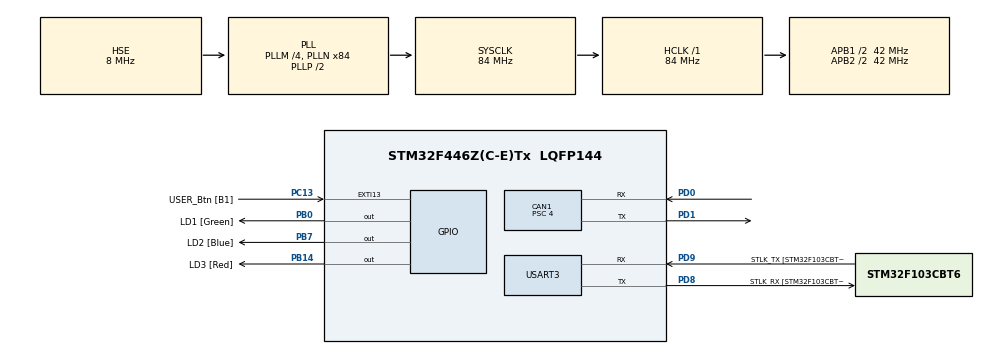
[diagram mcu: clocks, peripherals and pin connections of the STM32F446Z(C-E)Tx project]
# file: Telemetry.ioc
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CAN1.BS1=CAN_BS1_13TQ
CAN1.BS2=CAN_BS2_2TQ
CAN1.CalculateBaudRate=656250
CAN1.CalculateTimeBit=1523
CAN1.CalculateTimeQuantum=95.23809523809524
CAN1.NART=ENABLE
CAN1.Prescaler=4
Mcu.Family=STM32F4
Mcu.Name=STM32F446Z(C-E)Tx
Mcu.Package=LQFP144
NVIC.CAN1_RX0_IRQn=true\:0\:0\:false\:false\:true\:true\:true\:true
NVIC.EXTI15_10_IRQn=true\:0\:0\:false\:false\:true\:true\:true\:true
NVIC.PriorityGroup=NVIC_PRIORITYGROUP_4
PB0.GPIO_Label=LD1 [Green]
PB0.Signal=GPIO_Output
PB14.GPIO_Label=LD3 [Red]
PB14.Signal=GPIO_Output
PB7.GPIO_Label=LD2 [Blue]
PB7.Signal=GPIO_Output
PC13.GPIO_Label=USER_Btn [B1]
PC13.Signal=GPXTI13
PC14-OSC32_IN.Mode=LSE-External-Oscillator
PC14-OSC32_IN.Signal=RCC_OSC32_IN
PC15-OSC32_OUT.Mode=LSE-External-Oscillator
PC15-OSC32_OUT.Signal=RCC_OSC32_OUT
PD0.Mode=CAN_Activate
PD0.Signal=CAN1_RX
PD1.Mode=CAN_Activate
PD1.Signal=CAN1_TX
PD8.GPIO_Label=STLK_RX [STM32F103CBT6_PA3]
PD8.Mode=Asynchronous
PD8.Signal=USART3_TX
PD9.GPIO_Label=STLK_TX [STM32F103CBT6_PA2]
PD9.Mode=Asynchronous
PD9.Signal=USART3_RX
PH0-OSC_IN.GPIO_Label=MCO [STM32F103CBT6_PA8]
PH0-OSC_IN.Mode=HSE-External-Clock-Source
PH0-OSC_IN.Signal=RCC_OSC_IN
PH1-OSC_OUT.Mode=HSE-External-Clock-Source
PH1-OSC_OUT.Signal=RCC_OSC_OUT
ProjectManager.HeapSize=0x200
ProjectManager.StackSize=0x400
ProjectManager.TargetToolchain=STM32CubeIDE
RCC.48MHZClocksFreq_Value=24000000
RCC.AHBFreq_Value=84000000
RCC.APB1CLKDivider=RCC_HCLK_DIV2
RCC.APB1Freq_Value=42000000
RCC.APB1TimFreq_Value=84000000
RCC.APB2CLKDivider=RCC_HCLK_DIV2
RCC.APB2Freq_Value=42000000
RCC.APB2TimFreq_Value=84000000
RCC.CortexFreq_Value=84000000
RCC.HCLKFreq_Value=84000000
RCC.HSE_VALUE=8000000
RCC.HSI_VALUE=16000000
RCC.PLLM=4
RCC.PLLMUL=RCC_PLL_MUL9
RCC.PLLN=84
RCC.PLLQ=7
RCC.PLLSourceVirtual=RCC_PLLSOURCE_HSE
RCC.PRESCALERUSB=RCC_USBCLKSOURCE_PLL_DIV1_5
RCC.SYSCLKFreq_VALUE=84000000
RCC.SYSCLKSource=RCC_SYSCLKSOURCE_PLLCLK
RCC.SYSCLKSourceVirtual=RCC_SYSCLKSOURCE_PLLCLK
RCC.USBFreq_Value=24000000
RCC.VCOOutputFreq_Value=168000000
USART3.VirtualMode=VM_ASYNC
board=NUCLEO-F446ZE

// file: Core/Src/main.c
/* USER CODE BEGIN Header */
/**
  ******************************************************************************
  * @file           : main.c
  * @brief          : Main program body
  ******************************************************************************
  * @attention
  *
  * Copyright (c) 2024 STMicroelectronics.
  * All rights reserved.
  *
  * This software is licensed under terms that can be found in the LICENSE file
  * in the root directory of this software component.
  * If no LICENSE file comes with this software, it is provided AS-IS.
  *
  ******************************************************************************
  */
/* USER CODE END Header */
#include "main.h"

/* USER CODE BEGIN Includes */
#include <stdio.h>
#include "F446ZE_FLASH_Sector_Addresses.h"
/* USER CODE END Includes */

/* USER CODE BEGIN PD */

/* Before transmitting, make sure that there is an 'update' available in the sector defined below.
 * This update will then be sent from one F446 board to another through the CAN bus.
 * One board simulates the telemetry module (= responsible from communication with the ground station) on a CubeSat,
 * the other board simulates the on-board computer (OBC) of the CubeSat. */

#define FLASH_USER_START_ADDR_TX   ADDR_FLASH_SECTOR_6_START		/* Start @ of user Flash area */
#define FLASH_USER_END_ADDR_TX     ADDR_FLASH_SECTOR_6_END 			/* End @ of user Flash area */

/* We define some storage sectors where updates can be stored.
 * Depending on the size of the update, the user should pick a suitable storage sector. */
#define UPDATE_STORAGE_SECTOR_0		ADDR_FLASH_SECTOR_2_START
#define UPDATE_STORAGE_SECTOR_1		ADDR_FLASH_SECTOR_3_START
#define UPDATE_STORAGE_SECTOR_2		ADDR_FLASH_SECTOR_4_START
#define UPDATE_STORAGE_SECTOR_3		ADDR_FLASH_SECTOR_5_START
#define UPDATE_STORAGE_SECTOR_4		ADDR_FLASH_SECTOR_6_START
#define UPDATE_STORAGE_SECTOR_5		ADDR_FLASH_SECTOR_7_START

/* USER CODE END PD */

CAN_HandleTypeDef hcan1;

UART_HandleTypeDef huart3;

/* USER CODE BEGIN PV */

// CAN variables
CAN_TxHeaderTypeDef   			TxHeader;
CAN_RxHeaderTypeDef   			RxHeader;
uint8_t               			TxData[8];
uint8_t               			RxData[8];
uint8_t 						TxBuffer;
uint32_t              			TxMailbox;
enum standard_message_id		{ID_0 = 0b00000000000, ID_1 = 0b00000000001, ID_2 = 0b00000000010};
enum standard_message_id		standard_message_id = ID_0;
uint8_t							id_sent_and_received_flag;

// Board status variables
enum board_status 	  			{READY_FOR_UPDATE, SENDING_UPDATE, RECEIVING_UPDATE, UPDATE_FINISHED};
enum board_status 	  			board_status = READY_FOR_UPDATE;

// Flash memory variables
uint32_t 						update_storage_sector;
uint32_t						flash_sector;

/* USER CODE END PV */

void SystemClock_Config(void);
static void MX_GPIO_Init(void);
static void MX_USART3_UART_Init(void);
static void MX_CAN1_Init(void);
/* USER CODE BEGIN PFP */

/* Function prototypes for Flash Operations */
static uint32_t GetSectorSize(uint32_t Sector);
static void Read_FLASH_and_Prepare_Data_for_CAN(uint32_t Sector, uint32_t StartSectorAddress);
static void SendID(void);
static uint32_t Set_ID_and_Flash_Sector(uint32_t UpdateStorageSector);

/* USER CODE END PFP */

int main(void)
{

  /* USER CODE BEGIN 1 */

	/* The user needs to define from which UPDATE_STORAGE_SECTOR an update will be performed. */
	update_storage_sector = UPDATE_STORAGE_SECTOR_4;
	Set_ID_and_Flash_Sector(update_storage_sector);

	/* After sending the ID, the receiver will respond to confirm that data can be transmitted.
	 * After this confirmation, the flag below will be set. */
	id_sent_and_received_flag = 0;

  /* USER CODE END 1 */

  /* MCU Configuration--------------------------------------------------------*/

  /* Reset of all peripherals, Initializes the Flash interface and the Systick. */
  HAL_Init();

  /* Configure the system clock */
  SystemClock_Config();

  /* Initialize all configured peripherals */
  MX_GPIO_Init();
  MX_USART3_UART_Init();
  MX_CAN1_Init();

  /* Infinite loop */
  while (1)
  {

    /* USER CODE BEGIN 3 */

	  /* Depending on the state of the board, an LED will blink */

	  if (board_status == READY_FOR_UPDATE){
		  HAL_GPIO_WritePin(GPIOB, LD2_Pin | LD1_Pin, GPIO_PIN_RESET);
		  HAL_GPIO_TogglePin(GPIOB, LD3_Pin);   						// Red LED will blink
		  HAL_Delay(1000);
	  }
	  else if (board_status == SENDING_UPDATE){
		  HAL_GPIO_WritePin(GPIOB, LD3_Pin | LD1_Pin, GPIO_PIN_RESET);
		  HAL_GPIO_TogglePin(GPIOB, LD2_Pin); 							// Blue LED will blink
		  HAL_Delay(100);
	  }
	  else if (board_status == UPDATE_FINISHED){
		  HAL_GPIO_WritePin(GPIOB, LD2_Pin | LD3_Pin, GPIO_PIN_RESET);
		  HAL_GPIO_TogglePin(GPIOB, LD1_Pin);							// Green LED will blink
		  HAL_Delay(1000);
	  }
  }
  /* USER CODE END 3 */
}

void SystemClock_Config(void)
{
  RCC_OscInitTypeDef RCC_OscInitStruct = {0};
  RCC_ClkInitTypeDef RCC_ClkInitStruct = {0};

  /** Configure the main internal regulator output voltage
  */
  __HAL_RCC_PWR_CLK_ENABLE();
  __HAL_PWR_VOLTAGESCALING_CONFIG(PWR_REGULATOR_VOLTAGE_SCALE3);

  /** Initializes the RCC Oscillators according to the specified parameters
  * in the RCC_OscInitTypeDef structure.
  */
  RCC_OscInitStruct.OscillatorType = RCC_OSCILLATORTYPE_HSE;
  RCC_OscInitStruct.HSEState = RCC_HSE_BYPASS;
  RCC_OscInitStruct.PLL.PLLState = RCC_PLL_ON;
  RCC_OscInitStruct.PLL.PLLSource = RCC_PLLSOURCE_HSE;
  RCC_OscInitStruct.PLL.PLLM = 4;
  RCC_OscInitStruct.PLL.PLLN = 84;
  RCC_OscInitStruct.PLL.PLLP = RCC_PLLP_DIV2;
  RCC_OscInitStruct.PLL.PLLQ = 7;
  RCC_OscInitStruct.PLL.PLLR = 2;
  if (HAL_RCC_OscConfig(&RCC_OscInitStruct) != HAL_OK)
  {
    Error_Handler();
  }

  /** Initializes the CPU, AHB and APB buses clocks
  */
  RCC_ClkInitStruct.ClockType = RCC_CLOCKTYPE_HCLK|RCC_CLOCKTYPE_SYSCLK
                              |RCC_CLOCKTYPE_PCLK1|RCC_CLOCKTYPE_PCLK2;
  RCC_ClkInitStruct.SYSCLKSource = RCC_SYSCLKSOURCE_PLLCLK;
  RCC_ClkInitStruct.AHBCLKDivider = RCC_SYSCLK_DIV1;
  RCC_ClkInitStruct.APB1CLKDivider = RCC_HCLK_DIV2;
  RCC_ClkInitStruct.APB2CLKDivider = RCC_HCLK_DIV2;

  if (HAL_RCC_ClockConfig(&RCC_ClkInitStruct, FLASH_LATENCY_2) != HAL_OK)
  {
    Error_Handler();
  }
}

static void MX_CAN1_Init(void)
{

  /* USER CODE BEGIN CAN1_Init 0 */
  CAN_FilterTypeDef  sFilterConfig0;
  /* USER CODE END CAN1_Init 0 */

  hcan1.Instance = CAN1;
  hcan1.Init.Prescaler = 4;
  hcan1.Init.Mode = CAN_MODE_NORMAL;
  hcan1.Init.SyncJumpWidth = CAN_SJW_1TQ;
  hcan1.Init.TimeSeg1 = CAN_BS1_13TQ;
  hcan1.Init.TimeSeg2 = CAN_BS2_2TQ;
  hcan1.Init.TimeTriggeredMode = DISABLE;
  hcan1.Init.AutoBusOff = DISABLE;
  hcan1.Init.AutoWakeUp = DISABLE;
  hcan1.Init.AutoRetransmission = ENABLE;
  hcan1.Init.ReceiveFifoLocked = DISABLE;
  hcan1.Init.TransmitFifoPriority = DISABLE;
  if (HAL_CAN_Init(&hcan1) != HAL_OK)
  {
    Error_Handler();
  }
  /* USER CODE BEGIN CAN1_Init 2 */

  sFilterConfig0.FilterBank = 0;
  sFilterConfig0.FilterMode = CAN_FILTERMODE_IDMASK;
  sFilterConfig0.FilterScale = CAN_FILTERSCALE_32BIT;
  sFilterConfig0.FilterIdHigh = 0x0000;
  sFilterConfig0.FilterIdLow = 0x0000;
  sFilterConfig0.FilterMaskIdHigh = 0x0000;
  sFilterConfig0.FilterMaskIdLow = 0x0000;
  sFilterConfig0.FilterFIFOAssignment = CAN_RX_FIFO0;
  sFilterConfig0.FilterActivation = ENABLE;
  sFilterConfig0.SlaveStartFilterBank = 14;
  if (HAL_CAN_ConfigFilter(&hcan1, &sFilterConfig0) != HAL_OK) {
	/* Filter configuration Error */
	Error_Handler();
  }

  if (HAL_CAN_Start(&hcan1) != HAL_OK)
  {
    /* Start Error */
    Error_Handler();
  }

  if (HAL_CAN_ActivateNotification(&hcan1, CAN_IT_RX_FIFO0_MSG_PENDING) != HAL_OK)
    {
    /* Notification Error */
      Error_Handler();
    }

  TxHeader.StdId = standard_message_id;
  TxHeader.ExtId = 0x00;
  TxHeader.RTR = CAN_RTR_DATA;
  TxHeader.IDE = CAN_ID_STD;
  TxHeader.DLC = 8; // Data length is equal to 8
  TxHeader.TransmitGlobalTime = DISABLE;

  /* USER CODE END CAN1_Init 2 */

}

static void MX_USART3_UART_Init(void)
{

  huart3.Instance = USART3;
  huart3.Init.BaudRate = 115200;
  huart3.Init.WordLength = UART_WORDLENGTH_8B;
  huart3.Init.StopBits = UART_STOPBITS_1;
  huart3.Init.Parity = UART_PARITY_NONE;
  huart3.Init.Mode = UART_MODE_TX_RX;
  huart3.Init.HwFlowCtl = UART_HWCONTROL_NONE;
  huart3.Init.OverSampling = UART_OVERSAMPLING_16;
  if (HAL_UART_Init(&huart3) != HAL_OK)
  {
    Error_Handler();
  }

}

static void MX_GPIO_Init(void)
{
  GPIO_InitTypeDef GPIO_InitStruct = {0};

  /* GPIO Ports Clock Enable */
  __HAL_RCC_GPIOC_CLK_ENABLE();
  __HAL_RCC_GPIOH_CLK_ENABLE();
  __HAL_RCC_GPIOB_CLK_ENABLE();
  __HAL_RCC_GPIOD_CLK_ENABLE();

  /*Configure GPIO pin Output Level */
  HAL_GPIO_WritePin(GPIOB, LD1_Pin|LD3_Pin|LD2_Pin, GPIO_PIN_RESET);

  /*Configure GPIO pin : USER_Btn_Pin */
  GPIO_InitStruct.Pin = USER_Btn_Pin;
  GPIO_InitStruct.Mode = GPIO_MODE_IT_RISING;
  GPIO_InitStruct.Pull = GPIO_NOPULL;
  HAL_GPIO_Init(USER_Btn_GPIO_Port, &GPIO_InitStruct);

  /*Configure GPIO pins : LD1_Pin LD3_Pin LD2_Pin */
  GPIO_InitStruct.Pin = LD1_Pin|LD3_Pin|LD2_Pin;
  GPIO_InitStruct.Mode = GPIO_MODE_OUTPUT_PP;
  GPIO_InitStruct.Pull = GPIO_NOPULL;
  GPIO_InitStruct.Speed = GPIO_SPEED_FREQ_LOW;
  HAL_GPIO_Init(GPIOB, &GPIO_InitStruct);

  /* EXTI interrupt init*/
  HAL_NVIC_SetPriority(EXTI15_10_IRQn, 0, 0);
  HAL_NVIC_EnableIRQ(EXTI15_10_IRQn);

}

/* USER CODE BEGIN 4 */

/* The purpose of this function is to send the TxHeader containing the ID of the message.
 * This ID will be used by the receiver to determine in which flash sector the following message
 * will be stored. This initial message does not contain any useful data. */
void SendID(){
	printf("ID sent. \r\n");
	TxHeader.DLC = 1;
	TxData[0] = 0b00000000;
	HAL_CAN_AddTxMessage(&hcan1, &TxHeader, TxData, &TxMailbox);
}

/* Based on the chosen sector, the ID of the messages containing the update will be set.
 * The Filter Matching Index is used by the receiving board to determine in which flash sector it
 * needs to write the update.
 * ID_0 (ID 0b00000000000) corresponds to Filter Matching Index 0.
 * ID_1 (ID 0b00000000001) corresponds to Filter Matching Index 2.
 * ID_2 (ID 0b00000000010) corresponds to Filter Matching Index 4 */
uint32_t Set_ID_and_Flash_Sector(uint32_t UpdateStorageSector){

	if (UpdateStorageSector == UPDATE_STORAGE_SECTOR_0){
		standard_message_id = ID_0;
		flash_sector = FLASH_SECTOR_2;
	}
	else if (UpdateStorageSector == UPDATE_STORAGE_SECTOR_1){
		standard_message_id = ID_1;
		flash_sector = FLASH_SECTOR_3;
	}
	else {
		standard_message_id = ID_2;
		flash_sector = FLASH_SECTOR_6;
	}
	return standard_message_id;
}

/* We will read the full sector. We read a byte each time and pass it to the TxData[i] of the CAN.
 * The maximum amount of data the CAN protocol can send per message is 8 bytes,
 * so we will repeat the read operation 8 times. */

void Read_FLASH_and_Prepare_Data_for_CAN(uint32_t Sector, uint32_t StartSectorAddress){

	board_status = SENDING_UPDATE;
	HAL_GPIO_WritePin(GPIOB, LD3_Pin | LD1_Pin, GPIO_PIN_RESET);

	/* Unlock the Flash to enable the flash control register access. */
	HAL_FLASH_Unlock();
	/* Since sectors can have different length, we need to calculate how many bytes need to be read. */
	uint32_t nrOfBytes = GetSectorSize(Sector);

 	while (nrOfBytes != 0){
 		HAL_GPIO_TogglePin(GPIOB, LD2_Pin);
 		for (int i = 0; i < 8; i++){
 			/* Read the first byte from Flash and store it in TxBuffer. */
 			TxBuffer = *(__IO uint8_t *)StartSectorAddress;

 			/* Put the content of TxBuffer in TxData[i]. */
 			TxData[i] = TxBuffer;

 			/* Move to the next byte in Flash memory. */
 			StartSectorAddress += sizeof(uint8_t);

 			/* Decrement the number of bytes that still have to be read. */
 			nrOfBytes--;
 			printf("nrOfBytes: %lu \r\n", nrOfBytes);
 			printf("TxData: %02X \r\n", TxData[i]);
 		}

 		/* Now that we have 8 bytes of data, we send a message through the CAN bus! */
 		HAL_CAN_AddTxMessage(&hcan1 , &TxHeader, TxData, &TxMailbox);
	}

 	/* When all data is read and sent, we lock the Flash memory again to protect it from unwanted operations. */
 	HAL_FLASH_Lock();
 	board_status = UPDATE_FINISHED;
}

void HAL_CAN_RxFifo0MsgPendingCallback(CAN_HandleTypeDef *hcan)
{
	  if (HAL_CAN_GetRxMessage(hcan, CAN_RX_FIFO0, &RxHeader, RxData) != HAL_OK)
	  {
	    /* Reception Error */
	    Error_Handler();
	  }
	  if ((RxHeader.DLC == 1) && (RxData[0] == 0b11111111)){
		  //id_sent_and_received_flag = 1;
		  TxHeader.DLC = 8;
		  Read_FLASH_and_Prepare_Data_for_CAN(flash_sector, update_storage_sector);
	  }
}

/**
  * @brief  Gets sector Size
  * @param  None
  * @retval The size of a given sector
  */
static uint32_t GetSectorSize(uint32_t Sector)
{
  uint32_t sectorsize = 0x00;
  if((Sector == FLASH_SECTOR_0) || (Sector == FLASH_SECTOR_1) || (Sector == FLASH_SECTOR_2) || (Sector == FLASH_SECTOR_3))
  {
    sectorsize = 16 * 1024;
  }
  else if(Sector == FLASH_SECTOR_4)
  {
    sectorsize = 64 * 1024;
  }
  else
  {
    sectorsize = 128 * 1024;
  }
  return sectorsize;
}

void HAL_GPIO_EXTI_Callback(uint16_t GPIO_Pin){
	if (GPIO_Pin == GPIO_PIN_13){

		// Start reading the Flash sector where we stored the .bin file of the update.
		//Read_FLASH_and_Prepare_Data_for_CAN(FLASH_SECTOR_6, FLASH_USER_START_ADDR_TX);
		SendID();
	}
}

/* Enabling a print function for Putty. */
#ifdef __GNUC__

 /* With GCC, small printf (option LD Linker->Libraries->Small printf set to 'Yes') calls __io_putchar() */
int __io_putchar(int ch)
#else
int fputc(int ch, FILE *f)
#endif /* __GNUC__ */
{
	HAL_UART_Transmit(&huart3, (uint8_t *)&ch, 1, HAL_MAX_DELAY);
	return ch;
}
/* USER CODE END 4 */

void Error_Handler(void)
{
  __disable_irq();
  while (1)
  {
  }
}
